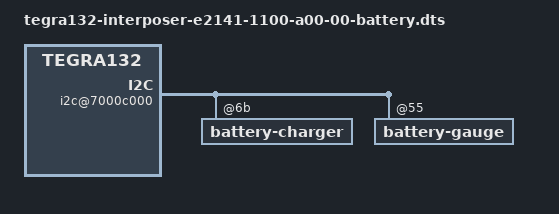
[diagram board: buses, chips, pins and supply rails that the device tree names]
#include "tegra132-interposer-e2141-1100-a00-00.dts"

/ {
	nvidia,dtsfilename = __FILE__;
	i2c@7000c000 {
		battery-charger@6b {
			charger {
				status = "okay";
			};
		};

		battery-gauge@55 {
			status = "okay";
		};
	};
};
